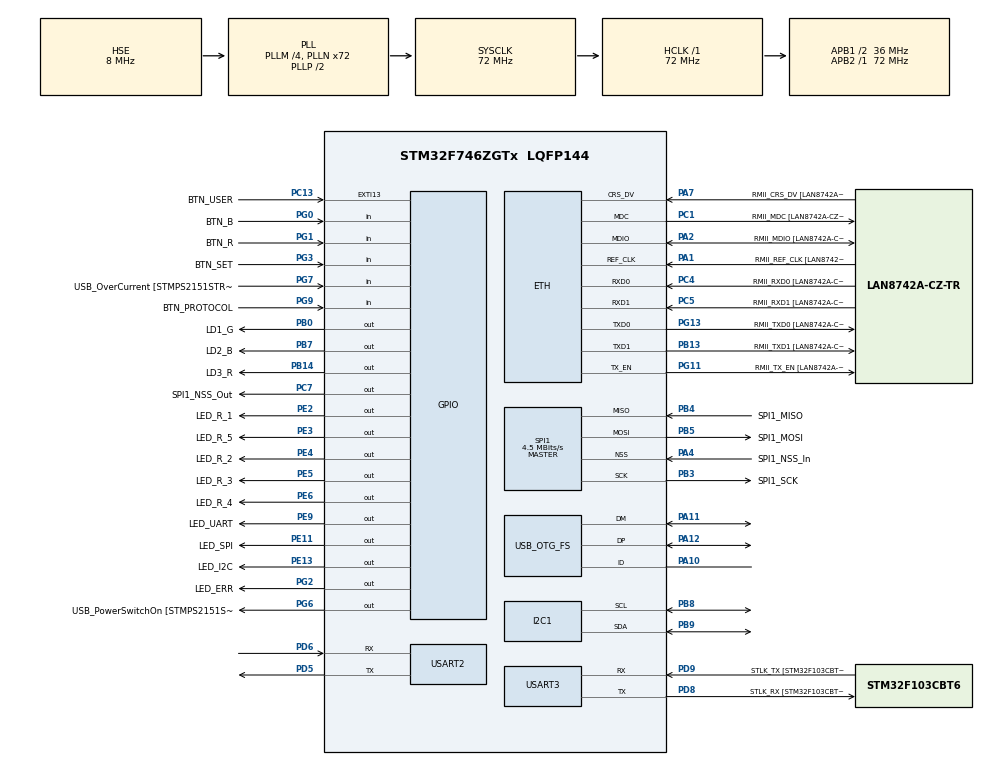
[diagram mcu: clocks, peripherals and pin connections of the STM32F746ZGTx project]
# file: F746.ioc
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ETH.MediaInterface=HAL_ETH_RMII_MODE
ETH.PHY_Name=LAN8742A_PHY_ADDRESS
ETH.PHY_Value=0
ETH.PhyAddress=0
I2C1.OwnAddress=17
I2C1.Timing=0x00808CD2
Mcu.Family=STM32F7
Mcu.Name=STM32F746ZGTx
Mcu.Package=LQFP144
NVIC.I2C1_ER_IRQn=true\:13\:0\:true\:false\:true\:true\:true\:true
NVIC.I2C1_EV_IRQn=true\:14\:0\:true\:false\:true\:true\:true\:true
NVIC.PriorityGroup=NVIC_PRIORITYGROUP_4
NVIC.SPI1_IRQn=true\:14\:0\:true\:false\:true\:true\:true\:true
NVIC.TIM8_TRG_COM_TIM14_IRQn=true\:15\:0\:true\:false\:true\:true\:true\:true
NVIC.USART2_IRQn=true\:14\:0\:true\:false\:true\:true\:true\:true
PA1.GPIO_Label=RMII_REF_CLK [LAN8742A-CZ-TR_REFCLK0]
PA1.Mode=RMII
PA1.Signal=ETH_REF_CLK
PA10.Mode=OTG/Dual_Role_Device
PA10.Signal=USB_OTG_FS_ID
PA11.Mode=OTG/Dual_Role_Device
PA11.Signal=USB_OTG_FS_DM
PA12.Mode=OTG/Dual_Role_Device
PA12.Signal=USB_OTG_FS_DP
PA13.GPIO_Label=TMS
PA13.Mode=Serial_Wire
PA13.Signal=SYS_JTMS-SWDIO
PA14.GPIO_Label=TCK
PA14.Mode=Serial_Wire
PA14.Signal=SYS_JTCK-SWCLK
PA2.GPIO_Label=RMII_MDIO [LAN8742A-CZ-TR_MDIO]
PA2.Mode=RMII
PA2.Signal=ETH_MDIO
PA4.GPIO_Label=SPI1_NSS_In
PA4.GPIO_PuPd=GPIO_PULLDOWN
PA4.Mode=NSS_Signal_Hard_Input
PA4.Signal=SPI1_NSS
PA7.GPIO_Label=RMII_CRS_DV [LAN8742A-CZ-TR_CRS_DV]
PA7.Mode=RMII
PA7.Signal=ETH_CRS_DV
PB0.GPIO_Label=LD1_G
PB0.Signal=GPIO_Output
PB13.GPIO_Label=RMII_TXD1 [LAN8742A-CZ-TR_TXD1]
PB13.Mode=RMII
PB13.Signal=ETH_TXD1
PB14.GPIO_Label=LD3_R
PB14.Signal=GPIO_Output
PB3.GPIO_Label=SPI1_SCK
PB3.Mode=Full_Duplex_Master
PB3.Signal=SPI1_SCK
PB4.GPIO_Label=SPI1_MISO
PB4.Mode=Full_Duplex_Master
PB4.Signal=SPI1_MISO
PB5.GPIO_Label=SPI1_MOSI
PB5.Mode=Full_Duplex_Master
PB5.Signal=SPI1_MOSI
PB7.GPIO_Label=LD2_B
PB7.Signal=GPIO_Output
PB8.Mode=I2C
PB8.Signal=I2C1_SCL
PB9.Mode=I2C
PB9.Signal=I2C1_SDA
PC1.GPIO_Label=RMII_MDC [LAN8742A-CZ-TR_MDC]
PC1.Mode=RMII
PC1.Signal=ETH_MDC
PC13.GPIO_Label=BTN_USER
PC13.Signal=GPXTI13
PC14/OSC32_IN.Mode=LSE-External-Oscillator
PC14/OSC32_IN.Signal=RCC_OSC32_IN
PC15/OSC32_OUT.Mode=LSE-External-Oscillator
PC15/OSC32_OUT.Signal=RCC_OSC32_OUT
PC4.GPIO_Label=RMII_RXD0 [LAN8742A-CZ-TR_RXD0]
PC4.Mode=RMII
PC4.Signal=ETH_RXD0
PC5.GPIO_Label=RMII_RXD1 [LAN8742A-CZ-TR_RXD1]
PC5.Mode=RMII
PC5.Signal=ETH_RXD1
PC7.GPIO_Label=SPI1_NSS_Out
PC7.PinState=GPIO_PIN_SET
PC7.Signal=GPIO_Output
PD5.Mode=Asynchronous
PD5.Signal=USART2_TX
PD6.Mode=Asynchronous
PD6.Signal=USART2_RX
PD8.GPIO_Label=STLK_RX [STM32F103CBT6_PA3]
PD8.GPIO_PuPd=GPIO_PULLUP
PD8.Mode=Asynchronous
PD8.Signal=USART3_TX
PD9.GPIO_Label=STLK_TX [STM32F103CBT6_PA2]
PD9.GPIO_PuPd=GPIO_PULLUP
PD9.Mode=Asynchronous
PD9.Signal=USART3_RX
PE11.GPIO_Label=LED_SPI
PE11.Signal=GPIO_Output
PE13.GPIO_Label=LED_I2C
PE13.Signal=GPIO_Output
PE2.GPIO_Label=LED_R_1
PE2.Signal=GPIO_Output
PE3.GPIO_Label=LED_R_5
PE3.Signal=GPIO_Output
PE4.GPIO_Label=LED_R_2
PE4.Signal=GPIO_Output
PE5.GPIO_Label=LED_R_3
PE5.Signal=GPIO_Output
PE6.GPIO_Label=LED_R_4
PE6.Signal=GPIO_Output
PE9.GPIO_Label=LED_UART
PE9.Signal=GPIO_Output
PG0.GPIO_Label=BTN_B
PG0.GPIO_PuPd=GPIO_PULLUP
PG0.Signal=GPIO_Input
PG1.GPIO_Label=BTN_R
PG1.GPIO_PuPd=GPIO_PULLUP
PG1.Signal=GPIO_Input
PG11.GPIO_Label=RMII_TX_EN [LAN8742A-CZ-TR_TXEN]
PG11.Mode=RMII
PG11.Signal=ETH_TX_EN
PG13.GPIO_Label=RMII_TXD0 [LAN8742A-CZ-TR_TXD0]
PG13.Mode=RMII
PG13.Signal=ETH_TXD0
PG2.GPIO_Label=LED_ERR
PG2.Signal=GPIO_Output
PG3.GPIO_Label=BTN_SET
PG3.GPIO_PuPd=GPIO_PULLUP
PG3.Signal=GPIO_Input
PG6.GPIO_Label=USB_PowerSwitchOn [STMPS2151STR_EN]
PG6.Signal=GPIO_Output
PG7.GPIO_Label=USB_OverCurrent [STMPS2151STR_FAULT]
PG7.Signal=GPIO_Input
PG9.GPIO_Label=BTN_PROTOCOL
PG9.GPIO_PuPd=GPIO_PULLUP
PG9.Signal=GPIO_Input
PH0/OSC_IN.GPIO_Label=MCO [STM32F103CBT6_PA8]
PH0/OSC_IN.Mode=HSE-External-Clock-Source
PH0/OSC_IN.Signal=RCC_OSC_IN
PH1/OSC_OUT.Mode=HSE-External-Clock-Source
PH1/OSC_OUT.Signal=RCC_OSC_OUT
ProjectManager.HeapSize=0x200
ProjectManager.StackSize=0x400
ProjectManager.TargetToolchain=STM32CubeIDE
RCC.48MHZClocksFreq_Value=24000000
RCC.AHBFreq_Value=72000000
RCC.APB1CLKDivider=RCC_HCLK_DIV2
RCC.APB1Freq_Value=36000000
RCC.APB1TimFreq_Value=72000000
RCC.APB2Freq_Value=72000000
RCC.APB2TimFreq_Value=72000000
RCC.CortexFreq_Value=72000000
RCC.HCLKFreq_Value=72000000
RCC.HSE_VALUE=8000000
RCC.HSI_VALUE=16000000
RCC.PLLM=4
RCC.PLLMUL=RCC_PLL_MUL9
RCC.PLLN=72
RCC.PLLQ=3
RCC.PRESCALERUSB=RCC_USBCLKSOURCE_PLL_DIV1_5
RCC.SYSCLKFreq_VALUE=72000000
RCC.SYSCLKSource=RCC_SYSCLKSOURCE_PLLCLK
RCC.SYSCLKSourceVirtual=RCC_SYSCLKSOURCE_PLLCLK
RCC.USBFreq_Value=48000000
RCC.VCOOutputFreq_Value=144000000
SPI1.BaudRatePrescaler=SPI_BAUDRATEPRESCALER_16
SPI1.CalculateBaudRate=4.5 MBits/s
SPI1.DataSize=SPI_DATASIZE_8BIT
SPI1.Direction=SPI_DIRECTION_2LINES
SPI1.Mode=SPI_MODE_MASTER
SPI1.VirtualNSS=VM_NSSHARD
SPI1.VirtualType=VM_MASTER
USART2.VirtualMode-Asynchronous=VM_ASYNC
USART3.VirtualMode-Asynchronous=VM_ASYNC
VP_TIM14_VS_ClockSourceINT.Mode=Enable_Timer
board=NUCLEO-F746ZG

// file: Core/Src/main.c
/* USER CODE BEGIN Header */
/**
  ******************************************************************************
  * @file           : main.c
  * @brief          : Main program body
  ******************************************************************************
  * @attention
  *
  * Copyright (c) 2023 STMicroelectronics.
  * All rights reserved.
  *
  * This software is licensed under terms that can be found in the LICENSE file
  * in the root directory of this software component.
  * If no LICENSE file comes with this software, it is provided AS-IS.
  *
  ******************************************************************************
  */
/* USER CODE END Header */
#include "main.h"
#include "string.h"

/* USER CODE BEGIN Includes */

#include <stdbool.h>
#include <stdio.h>

/* USER CODE END Includes */

#if defined ( __ICCARM__ ) /*!< IAR Compiler */
#pragma location=0x2004c000
ETH_DMADescTypeDef  DMARxDscrTab[ETH_RX_DESC_CNT]; /* Ethernet Rx DMA Descriptors */
#pragma location=0x2004c0a0
ETH_DMADescTypeDef  DMATxDscrTab[ETH_TX_DESC_CNT]; /* Ethernet Tx DMA Descriptors */

#elif defined ( __CC_ARM )  /* MDK ARM Compiler */

__attribute__((at(0x2004c000))) ETH_DMADescTypeDef  DMARxDscrTab[ETH_RX_DESC_CNT]; /* Ethernet Rx DMA Descriptors */
__attribute__((at(0x2004c0a0))) ETH_DMADescTypeDef  DMATxDscrTab[ETH_TX_DESC_CNT]; /* Ethernet Tx DMA Descriptors */

#elif defined ( __GNUC__ ) /* GNU Compiler */
ETH_DMADescTypeDef DMARxDscrTab[ETH_RX_DESC_CNT] __attribute__((section(".RxDecripSection"))); /* Ethernet Rx DMA Descriptors */
ETH_DMADescTypeDef DMATxDscrTab[ETH_TX_DESC_CNT] __attribute__((section(".TxDecripSection")));   /* Ethernet Tx DMA Descriptors */

#endif

ETH_TxPacketConfig TxConfig;

ETH_HandleTypeDef heth;

I2C_HandleTypeDef hi2c1;

SPI_HandleTypeDef hspi1;

TIM_HandleTypeDef htim14;

UART_HandleTypeDef huart2;
UART_HandleTypeDef huart3;

void SystemClock_Config(void);
static void MX_GPIO_Init(void);
static void MX_ETH_Init(void);
static void MX_I2C1_Init(void);
static void MX_SPI1_Init(void);
static void MX_TIM14_Init(void);
static void MX_USART2_UART_Init(void);
static void MX_USART3_UART_Init(void);
static void MX_USB_OTG_FS_USB_Init(void);

/* USER CODE BEGIN 0 */
uint8_t userMode = 1;
uint8_t protocol = 1;
uint8_t BTN_DEBOUNCE_TIMER = 20;

uint8_t uartRxBuffer = 0;
uint8_t uartTxBuffer = 0;
uint8_t spiRxBuffer = 0;
uint8_t spiTxBuffer = 0;

uint16_t BTN_RED_initState = GPIO_PIN_SET;
uint16_t BTN_RED_currentState;
uint16_t BTN_RED_pressSlowCount = 0;
uint16_t BTN_RED_releaseSlowCount = 0;
bool BTN_RED_isPressed = false;

uint16_t BTN_BLUE_initState = GPIO_PIN_SET;
uint16_t BTN_BLUE_currentState;
uint16_t BTN_BLUE_pressSlowCount = 0;
uint16_t BTN_BLUE_releaseSlowCount = 0;
bool BTN_BLUE_isPressed = false;

uint16_t BTN_SET_initState = GPIO_PIN_SET;
uint16_t BTN_SET_currentState;
uint16_t BTN_SET_pressSlowCount = 0;
uint16_t BTN_SET_releaseSlowCount = 0;
bool BTN_SET_isPressed = false;

uint16_t BTN_PROTOCOL_initState = GPIO_PIN_SET;
uint16_t BTN_PROTOCOL_currentState;
uint16_t BTN_PROTOCOL_pressSlowCount = 0;
uint16_t BTN_PROTOCOL_releaseSlowCount = 0;
bool BTN_PROTOCOL_isPressed = false;
/* USER CODE END 0 */

int main(void)
{
  /* USER CODE BEGIN 1 */
  ;
  /* USER CODE END 1 */

  /* MCU Configuration--------------------------------------------------------*/

  /* Reset of all peripherals, Initializes the Flash interface and the Systick. */
  HAL_Init();

  /* Configure the system clock */
  SystemClock_Config();

  /* Initialize all configured peripherals */
  MX_GPIO_Init();
  MX_ETH_Init();
  MX_I2C1_Init();
  MX_SPI1_Init();
  MX_TIM14_Init();
  MX_USART2_UART_Init();
  MX_USART3_UART_Init();
  MX_USB_OTG_FS_USB_Init();
  /* USER CODE BEGIN 2 */
//

  /* USER CODE END 2 */

  /* Infinite loop */
  /* USER CODE BEGIN WHILE */

  setModeLed();
  setProtocolLed();

  while (1)
  {
	  int delayTime = (6 - userMode) * 100;

    /* USER CODE END WHILE */

    /* USER CODE BEGIN 3 */
	  HAL_GPIO_WritePin(GPIOB, LD1_G_Pin, GPIO_PIN_RESET);
	  HAL_GPIO_WritePin(GPIOB, LD3_R_Pin, GPIO_PIN_SET);
	  HAL_Delay(delayTime);
	  HAL_GPIO_WritePin(GPIOB, LD3_R_Pin, GPIO_PIN_RESET);
	  HAL_GPIO_WritePin(GPIOB, LD2_B_Pin, GPIO_PIN_SET);
	  HAL_Delay(delayTime);
	  HAL_GPIO_WritePin(GPIOB, LD2_B_Pin, GPIO_PIN_RESET);
	  HAL_GPIO_WritePin(GPIOB, LD1_G_Pin, GPIO_PIN_SET);
	  HAL_Delay(delayTime);

  }
  /* USER CODE END 3 */
}

void SystemClock_Config(void)
{
  RCC_OscInitTypeDef RCC_OscInitStruct = {0};
  RCC_ClkInitTypeDef RCC_ClkInitStruct = {0};

  /** Configure LSE Drive Capability
  */
  HAL_PWR_EnableBkUpAccess();

  /** Configure the main internal regulator output voltage
  */
  __HAL_RCC_PWR_CLK_ENABLE();
  __HAL_PWR_VOLTAGESCALING_CONFIG(PWR_REGULATOR_VOLTAGE_SCALE3);

  /** Initializes the RCC Oscillators according to the specified parameters
  * in the RCC_OscInitTypeDef structure.
  */
  RCC_OscInitStruct.OscillatorType = RCC_OSCILLATORTYPE_HSE;
  RCC_OscInitStruct.HSEState = RCC_HSE_BYPASS;
  RCC_OscInitStruct.PLL.PLLState = RCC_PLL_ON;
  RCC_OscInitStruct.PLL.PLLSource = RCC_PLLSOURCE_HSE;
  RCC_OscInitStruct.PLL.PLLM = 4;
  RCC_OscInitStruct.PLL.PLLN = 72;
  RCC_OscInitStruct.PLL.PLLP = RCC_PLLP_DIV2;
  RCC_OscInitStruct.PLL.PLLQ = 3;
  if (HAL_RCC_OscConfig(&RCC_OscInitStruct) != HAL_OK)
  {
    Error_Handler();
  }

  /** Initializes the CPU, AHB and APB buses clocks
  */
  RCC_ClkInitStruct.ClockType = RCC_CLOCKTYPE_HCLK|RCC_CLOCKTYPE_SYSCLK
                              |RCC_CLOCKTYPE_PCLK1|RCC_CLOCKTYPE_PCLK2;
  RCC_ClkInitStruct.SYSCLKSource = RCC_SYSCLKSOURCE_PLLCLK;
  RCC_ClkInitStruct.AHBCLKDivider = RCC_SYSCLK_DIV1;
  RCC_ClkInitStruct.APB1CLKDivider = RCC_HCLK_DIV2;
  RCC_ClkInitStruct.APB2CLKDivider = RCC_HCLK_DIV1;

  if (HAL_RCC_ClockConfig(&RCC_ClkInitStruct, FLASH_LATENCY_2) != HAL_OK)
  {
    Error_Handler();
  }
}

static void MX_ETH_Init(void)
{

   static uint8_t MACAddr[6];

  heth.Instance = ETH;
  MACAddr[0] = 0x00;
  MACAddr[1] = 0x80;
  MACAddr[2] = 0xE1;
  MACAddr[3] = 0x00;
  MACAddr[4] = 0x00;
  MACAddr[5] = 0x00;
  heth.Init.MACAddr = &MACAddr[0];
  heth.Init.MediaInterface = HAL_ETH_RMII_MODE;
  heth.Init.TxDesc = DMATxDscrTab;
  heth.Init.RxDesc = DMARxDscrTab;
  heth.Init.RxBuffLen = 1524;

  if (HAL_ETH_Init(&heth) != HAL_OK)
  {
    Error_Handler();
  }

  memset(&TxConfig, 0 , sizeof(ETH_TxPacketConfig));
  TxConfig.Attributes = ETH_TX_PACKETS_FEATURES_CSUM | ETH_TX_PACKETS_FEATURES_CRCPAD;
  TxConfig.ChecksumCtrl = ETH_CHECKSUM_IPHDR_PAYLOAD_INSERT_PHDR_CALC;
  TxConfig.CRCPadCtrl = ETH_CRC_PAD_INSERT;

}

static void MX_I2C1_Init(void)
{

  hi2c1.Instance = I2C1;
  hi2c1.Init.Timing = 0x00808CD2;
  hi2c1.Init.OwnAddress1 = 34;
  hi2c1.Init.AddressingMode = I2C_ADDRESSINGMODE_7BIT;
  hi2c1.Init.DualAddressMode = I2C_DUALADDRESS_DISABLE;
  hi2c1.Init.OwnAddress2 = 0;
  hi2c1.Init.OwnAddress2Masks = I2C_OA2_NOMASK;
  hi2c1.Init.GeneralCallMode = I2C_GENERALCALL_DISABLE;
  hi2c1.Init.NoStretchMode = I2C_NOSTRETCH_DISABLE;
  if (HAL_I2C_Init(&hi2c1) != HAL_OK)
  {
    Error_Handler();
  }

  /** Configure Analogue filter
  */
  if (HAL_I2CEx_ConfigAnalogFilter(&hi2c1, I2C_ANALOGFILTER_ENABLE) != HAL_OK)
  {
    Error_Handler();
  }

  /** Configure Digital filter
  */
  if (HAL_I2CEx_ConfigDigitalFilter(&hi2c1, 0) != HAL_OK)
  {
    Error_Handler();
  }

}

static void MX_SPI1_Init(void)
{

  /* USER CODE BEGIN SPI1_Init 1 */
	hspi1.Init.TIMode = SPI_IT_RXNE;
  /* USER CODE END SPI1_Init 1 */
  /* SPI1 parameter configuration*/
  hspi1.Instance = SPI1;
  hspi1.Init.Mode = SPI_MODE_MASTER;
  hspi1.Init.Direction = SPI_DIRECTION_2LINES;
  hspi1.Init.DataSize = SPI_DATASIZE_8BIT;
  hspi1.Init.CLKPolarity = SPI_POLARITY_LOW;
  hspi1.Init.CLKPhase = SPI_PHASE_1EDGE;
  hspi1.Init.NSS = SPI_NSS_HARD_INPUT;
  hspi1.Init.BaudRatePrescaler = SPI_BAUDRATEPRESCALER_16;
  hspi1.Init.FirstBit = SPI_FIRSTBIT_MSB;

  hspi1.Init.CRCCalculation = SPI_CRCCALCULATION_DISABLE;
  hspi1.Init.CRCPolynomial = 7;
  hspi1.Init.CRCLength = SPI_CRC_LENGTH_DATASIZE;
  hspi1.Init.NSSPMode = SPI_NSS_PULSE_ENABLE;
  if (HAL_SPI_Init(&hspi1) != HAL_OK)
  {
    Error_Handler();
  }
  /* USER CODE BEGIN SPI1_Init 2 */

  HAL_SPI_Receive_IT(&hspi1, &spiRxBuffer, 1);
  HAL_GPIO_WritePin(LED_ERR_GPIO_Port, LED_ERR_Pin, GPIO_PIN_SET);
  /* USER CODE END SPI1_Init 2 */

}

static void MX_TIM14_Init(void)
{

  htim14.Instance = TIM14;
  htim14.Init.Prescaler = 0;
  htim14.Init.CounterMode = TIM_COUNTERMODE_UP;
  htim14.Init.Period = 65535;
  htim14.Init.ClockDivision = TIM_CLOCKDIVISION_DIV1;
  htim14.Init.AutoReloadPreload = TIM_AUTORELOAD_PRELOAD_DISABLE;
  if (HAL_TIM_Base_Init(&htim14) != HAL_OK)
  {
    Error_Handler();
  }
  /* USER CODE BEGIN TIM14_Init 2 */
  HAL_TIM_Base_Start_IT(&htim14);
  /* USER CODE END TIM14_Init 2 */

}

static void MX_USART2_UART_Init(void)
{

  huart2.Instance = USART2;
  huart2.Init.BaudRate = 115200;
  huart2.Init.WordLength = UART_WORDLENGTH_8B;
  huart2.Init.StopBits = UART_STOPBITS_1;
  huart2.Init.Parity = UART_PARITY_NONE;
  huart2.Init.Mode = UART_MODE_TX_RX;
  huart2.Init.HwFlowCtl = UART_HWCONTROL_NONE;
  huart2.Init.OverSampling = UART_OVERSAMPLING_16;
  huart2.Init.OneBitSampling = UART_ONE_BIT_SAMPLE_DISABLE;
  huart2.AdvancedInit.AdvFeatureInit = UART_ADVFEATURE_NO_INIT;
  if (HAL_UART_Init(&huart2) != HAL_OK)
  {
    Error_Handler();
  }
  /* USER CODE BEGIN USART2_Init 2 */
  HAL_UART_Receive_IT(&huart2, &uartRxBuffer, 1);
  /* USER CODE END USART2_Init 2 */

}

static void MX_USART3_UART_Init(void)
{

  huart3.Instance = USART3;
  huart3.Init.BaudRate = 115200;
  huart3.Init.WordLength = UART_WORDLENGTH_8B;
  huart3.Init.StopBits = UART_STOPBITS_1;
  huart3.Init.Parity = UART_PARITY_NONE;
  huart3.Init.Mode = UART_MODE_TX_RX;
  huart3.Init.HwFlowCtl = UART_HWCONTROL_NONE;
  huart3.Init.OverSampling = UART_OVERSAMPLING_16;
  huart3.Init.OneBitSampling = UART_ONE_BIT_SAMPLE_DISABLE;
  huart3.AdvancedInit.AdvFeatureInit = UART_ADVFEATURE_NO_INIT;
  if (HAL_UART_Init(&huart3) != HAL_OK)
  {
    Error_Handler();
  }

}

static void MX_USB_OTG_FS_USB_Init(void)
{

}

static void MX_GPIO_Init(void)
{
  GPIO_InitTypeDef GPIO_InitStruct = {0};

  /* GPIO Ports Clock Enable */
  __HAL_RCC_GPIOE_CLK_ENABLE();
  __HAL_RCC_GPIOC_CLK_ENABLE();
  __HAL_RCC_GPIOH_CLK_ENABLE();
  __HAL_RCC_GPIOA_CLK_ENABLE();
  __HAL_RCC_GPIOB_CLK_ENABLE();
  __HAL_RCC_GPIOG_CLK_ENABLE();
  __HAL_RCC_GPIOD_CLK_ENABLE();

  /*Configure GPIO pin Output Level */
  HAL_GPIO_WritePin(GPIOE, LED_R_1_Pin|LED_R_5_Pin|LED_R_2_Pin|LED_R_3_Pin
                          |LED_R_4_Pin|LED_UART_Pin|LED_SPI_Pin|LED_I2C_Pin, GPIO_PIN_RESET);

  /*Configure GPIO pin Output Level */
  HAL_GPIO_WritePin(GPIOB, LD1_G_Pin|LD3_R_Pin|LD2_B_Pin, GPIO_PIN_RESET);

  /*Configure GPIO pin Output Level */
  HAL_GPIO_WritePin(GPIOG, LED_ERR_Pin|USB_PowerSwitchOn_Pin, GPIO_PIN_RESET);

  /*Configure GPIO pin Output Level */
  HAL_GPIO_WritePin(SPI1_NSS_Out_GPIO_Port, SPI1_NSS_Out_Pin, GPIO_PIN_SET);

  /*Configure GPIO pins : LED_R_1_Pin LED_R_5_Pin LED_R_2_Pin LED_R_3_Pin
                           LED_R_4_Pin LED_UART_Pin LED_SPI_Pin LED_I2C_Pin */
  GPIO_InitStruct.Pin = LED_R_1_Pin|LED_R_5_Pin|LED_R_2_Pin|LED_R_3_Pin
                          |LED_R_4_Pin|LED_UART_Pin|LED_SPI_Pin|LED_I2C_Pin;
  GPIO_InitStruct.Mode = GPIO_MODE_OUTPUT_PP;
  GPIO_InitStruct.Pull = GPIO_NOPULL;
  GPIO_InitStruct.Speed = GPIO_SPEED_FREQ_LOW;
  HAL_GPIO_Init(GPIOE, &GPIO_InitStruct);

  /*Configure GPIO pin : BTN_USER_Pin */
  GPIO_InitStruct.Pin = BTN_USER_Pin;
  GPIO_InitStruct.Mode = GPIO_MODE_IT_RISING;
  GPIO_InitStruct.Pull = GPIO_NOPULL;
  HAL_GPIO_Init(BTN_USER_GPIO_Port, &GPIO_InitStruct);

  /*Configure GPIO pins : LD1_G_Pin LD3_R_Pin LD2_B_Pin */
  GPIO_InitStruct.Pin = LD1_G_Pin|LD3_R_Pin|LD2_B_Pin;
  GPIO_InitStruct.Mode = GPIO_MODE_OUTPUT_PP;
  GPIO_InitStruct.Pull = GPIO_NOPULL;
  GPIO_InitStruct.Speed = GPIO_SPEED_FREQ_LOW;
  HAL_GPIO_Init(GPIOB, &GPIO_InitStruct);

  /*Configure GPIO pins : BTN_B_Pin BTN_R_Pin BTN_SET_Pin BTN_PROTOCOL_Pin */
  GPIO_InitStruct.Pin = BTN_B_Pin|BTN_R_Pin|BTN_SET_Pin|BTN_PROTOCOL_Pin;
  GPIO_InitStruct.Mode = GPIO_MODE_INPUT;
  GPIO_InitStruct.Pull = GPIO_PULLUP;
  HAL_GPIO_Init(GPIOG, &GPIO_InitStruct);

  /*Configure GPIO pins : LED_ERR_Pin USB_PowerSwitchOn_Pin */
  GPIO_InitStruct.Pin = LED_ERR_Pin|USB_PowerSwitchOn_Pin;
  GPIO_InitStruct.Mode = GPIO_MODE_OUTPUT_PP;
  GPIO_InitStruct.Pull = GPIO_NOPULL;
  GPIO_InitStruct.Speed = GPIO_SPEED_FREQ_LOW;
  HAL_GPIO_Init(GPIOG, &GPIO_InitStruct);

  /*Configure GPIO pin : USB_OverCurrent_Pin */
  GPIO_InitStruct.Pin = USB_OverCurrent_Pin;
  GPIO_InitStruct.Mode = GPIO_MODE_INPUT;
  GPIO_InitStruct.Pull = GPIO_NOPULL;
  HAL_GPIO_Init(USB_OverCurrent_GPIO_Port, &GPIO_InitStruct);

  /*Configure GPIO pin : SPI1_NSS_Out_Pin */
  GPIO_InitStruct.Pin = SPI1_NSS_Out_Pin;
  GPIO_InitStruct.Mode = GPIO_MODE_OUTPUT_PP;
  GPIO_InitStruct.Pull = GPIO_NOPULL;
  GPIO_InitStruct.Speed = GPIO_SPEED_FREQ_LOW;
  HAL_GPIO_Init(SPI1_NSS_Out_GPIO_Port, &GPIO_InitStruct);

  /*Configure GPIO pins : PA10 PA11 PA12 */
  GPIO_InitStruct.Pin = GPIO_PIN_10|GPIO_PIN_11|GPIO_PIN_12;
  GPIO_InitStruct.Mode = GPIO_MODE_AF_PP;
  GPIO_InitStruct.Pull = GPIO_NOPULL;
  GPIO_InitStruct.Speed = GPIO_SPEED_FREQ_VERY_HIGH;
  GPIO_InitStruct.Alternate = GPIO_AF10_OTG_FS;
  HAL_GPIO_Init(GPIOA, &GPIO_InitStruct);

}

/* USER CODE BEGIN 4 */
void resetModeLed(void)
{

  HAL_GPIO_WritePin(
					GPIOE,
					LED_R_1_Pin|LED_R_2_Pin|LED_R_3_Pin|LED_R_4_Pin|LED_R_5_Pin,
					GPIO_PIN_RESET
				   );
}

void setModeLed(void)
{
	resetModeLed();

	if(userMode == 1)
	{
		HAL_GPIO_WritePin(GPIOE, LED_R_1_Pin, GPIO_PIN_SET);
	}
	if(userMode == 2)
	{
		HAL_GPIO_WritePin(GPIOE, LED_R_2_Pin, GPIO_PIN_SET);
	}
	if(userMode == 3)
	{
		HAL_GPIO_WritePin(GPIOE, LED_R_3_Pin, GPIO_PIN_SET);
	}
	if(userMode == 4)
	{
		HAL_GPIO_WritePin(GPIOE, LED_R_4_Pin, GPIO_PIN_SET);
	}
	if(userMode == 5)
	{
		HAL_GPIO_WritePin(GPIOE, LED_R_5_Pin, GPIO_PIN_SET);
	}
}

void resetProtocolLed(void)
{

	HAL_GPIO_WritePin(GPIOE, LED_UART_Pin|LED_SPI_Pin|LED_I2C_Pin, GPIO_PIN_RESET);

}

void setProtocolLed(void)
{
	resetProtocolLed();
	if(protocol == 1)
	{
		HAL_GPIO_WritePin(GPIOE, LED_UART_Pin, GPIO_PIN_SET);
	}
	if(protocol == 2)
	{
		HAL_GPIO_WritePin(GPIOE, LED_SPI_Pin, GPIO_PIN_SET);
	}
	if(protocol == 3)
	{
		HAL_GPIO_WritePin(GPIOE, LED_I2C_Pin, GPIO_PIN_SET);
	}
}

void UART_Transmit(uint8_t data) {
    HAL_StatusTypeDef status;

    // Transmit a single byte using HAL_UART_Transmit
    status = HAL_UART_Transmit(&huart2, &data, 1, HAL_MAX_DELAY);

    // Check the status
    if (status != HAL_OK) {
    		Error_Handler();
    }
}

void SPI_Transmit(uint8_t data) {
    HAL_StatusTypeDef status;

    // Transmit a single byte using HAL_UART_Transmit
    HAL_GPIO_WritePin(SPI1_NSS_Out_GPIO_Port, SPI1_NSS_Out_Pin, GPIO_PIN_RESET);
    status = HAL_SPI_Transmit(&hspi1, &data, 1, HAL_MAX_DELAY);
    HAL_GPIO_WritePin(SPI1_NSS_Out_GPIO_Port, SPI1_NSS_Out_Pin, GPIO_PIN_SET);

    // Check the status
    if (status != HAL_OK) {
    		Error_Handler();
    }
}

void HAL_TIM_PeriodElapsedCallback (TIM_HandleTypeDef * htim)
{

	if(htim == &htim14)
	{
		BTN_RED_currentState = HAL_GPIO_ReadPin(GPIOG, BTN_R_Pin);
		BTN_SET_currentState = HAL_GPIO_ReadPin(GPIOG, BTN_SET_Pin);
		BTN_BLUE_currentState = HAL_GPIO_ReadPin(GPIOG, BTN_B_Pin);
		BTN_PROTOCOL_currentState = HAL_GPIO_ReadPin(GPIOG, BTN_PROTOCOL_Pin);
		//turning on RED btn
		if(BTN_RED_currentState != BTN_RED_initState)
		{

			++BTN_RED_pressSlowCount;

			if(BTN_RED_pressSlowCount > BTN_DEBOUNCE_TIMER)
			{
				//if you are here than RED BTN is pressed
				BTN_RED_pressSlowCount = 0;

				//onClick RED BTN code
				if(BTN_RED_isPressed == false)
				{
					userMode = userMode + 1;

					if(userMode == 6)
					{

						userMode = 1;

					}

					setModeLed();
					BTN_RED_isPressed = true;
				}
			}

		}
		//turning on BLUE btn
		if(BTN_BLUE_currentState != BTN_BLUE_initState)
		{

			++BTN_BLUE_pressSlowCount;

			if(BTN_BLUE_pressSlowCount > BTN_DEBOUNCE_TIMER)
			{
				//if you are here than RED BTN is pressed
				BTN_BLUE_pressSlowCount = 0;

				//onClick RED BTN code
				if(BTN_BLUE_isPressed == false)
				{
					userMode = userMode - 1;

					if(userMode == 0)
					{

						userMode = 5;

					}

					setModeLed();
					BTN_BLUE_isPressed = true;
				}
			}

		}
		//turning on SET btn
		if(BTN_SET_currentState != BTN_SET_initState)
		{

			++BTN_SET_pressSlowCount;

			if(BTN_SET_pressSlowCount > BTN_DEBOUNCE_TIMER)
			{
				//if you are here than RED BTN is pressed
				BTN_SET_pressSlowCount = 0;

				//onClick RED BTN code
				if(BTN_SET_isPressed == false)
				{

					if(protocol == 1)
					{
						UART_Transmit(userMode);
					}
					if(protocol == 2)
					{
						SPI_Transmit(userMode);
					}
					if(protocol == 3)
					{

					}

					BTN_SET_isPressed = true;
				}
			}

		}
		//turning on PROTOCOL btn
		if(BTN_PROTOCOL_currentState != BTN_PROTOCOL_initState)
		{

			++BTN_PROTOCOL_pressSlowCount;

			if(BTN_PROTOCOL_pressSlowCount > BTN_DEBOUNCE_TIMER)
			{
				//if you are here than RED BTN is pressed
				BTN_PROTOCOL_pressSlowCount = 0;

				//onClick RED BTN code
				if(BTN_PROTOCOL_isPressed == false)
				{

					protocol = protocol + 1;

					if(protocol == 4)
					{

						protocol = 1;

					}

					setProtocolLed();

					BTN_PROTOCOL_isPressed = true;
				}
			}

		}
		//turning off RED btn
		if(BTN_RED_currentState == BTN_RED_initState && BTN_RED_isPressed == true)
		{

			++BTN_RED_releaseSlowCount;

			if(BTN_RED_releaseSlowCount > BTN_DEBOUNCE_TIMER)
			{

				BTN_RED_isPressed = false;
				BTN_RED_releaseSlowCount = 0;
				//onRelease RED BTN code

			}
		}
		//turning off RED btn
		if(BTN_BLUE_currentState == BTN_BLUE_initState && BTN_BLUE_isPressed == true)
		{

			++BTN_BLUE_releaseSlowCount;

			if(BTN_BLUE_releaseSlowCount > BTN_DEBOUNCE_TIMER)
			{

				BTN_BLUE_isPressed = false;
				BTN_BLUE_releaseSlowCount = 0;
				//onRelease RED BTN code

			}
		}
		//turning off SET btn
		if(BTN_SET_currentState == BTN_SET_initState && BTN_SET_isPressed == true)
		{

			++BTN_SET_releaseSlowCount;

			if(BTN_SET_releaseSlowCount > BTN_DEBOUNCE_TIMER)
			{

				BTN_SET_isPressed = false;
				BTN_SET_releaseSlowCount = 0;
				//onRelease RED BTN code

			}
		}

		//turning off PROTOCOL btn
		if(BTN_PROTOCOL_currentState == BTN_PROTOCOL_initState && BTN_PROTOCOL_isPressed == true)
		{

			++BTN_PROTOCOL_releaseSlowCount;

			if(BTN_PROTOCOL_releaseSlowCount > BTN_DEBOUNCE_TIMER)
			{

				BTN_PROTOCOL_isPressed = false;
				BTN_PROTOCOL_releaseSlowCount = 0;
				//onRelease RED BTN code

			}
		}
	}
}

void HAL_UART_RxCpltCallback(UART_HandleTypeDef *huart)
{
  if (huart->Instance == USART2 && &uartRxBuffer)
  {
	//userCode
    userMode = uartRxBuffer;
    if(userMode > 5 || userMode < 1) Error_Handler();
    setModeLed();

    //init listening to UART
    HAL_UART_Receive_IT(&huart2, &uartRxBuffer, 1);
  }
}

void HAL_SPI_RxCpltCallback(SPI_HandleTypeDef *hspi) {
    // Handle received data
    // You can access the received data from the 'receivedData' variable
	HAL_GPIO_WritePin(LED_ERR_GPIO_Port, LED_ERR_Pin, GPIO_PIN_SET);
	if (hspi->Instance == SPI1 && &spiRxBuffer)
	{
		userMode = spiRxBuffer;
		if(userMode > 5 || userMode < 1) Error_Handler();
		setModeLed();

		HAL_SPI_Receive_IT(&hspi1, &spiRxBuffer, 1);
	}

}
/* USER CODE END 4 */

void Error_Handler(void)
{
  /* USER CODE BEGIN Error_Handler_Debug */
  HAL_GPIO_WritePin(LED_ERR_GPIO_Port, LED_ERR_Pin, GPIO_PIN_SET);
  /* User can add his own implementation to report the HAL error return state */
  __disable_irq();
  while (1)
  {
	  return;
  }
  /* USER CODE END Error_Handler_Debug */
}
